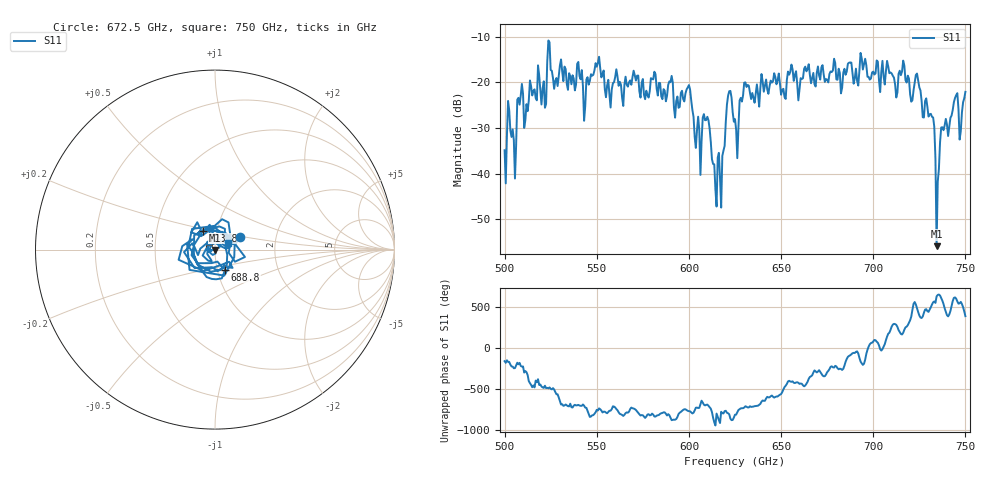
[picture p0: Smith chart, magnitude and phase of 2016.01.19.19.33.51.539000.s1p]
!Created with skrf (http://scikit-rf.org).
# GHz S RI R 50.0
!freq ReS11 ImS11
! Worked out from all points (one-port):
!   401 points, 500 GHz to 750 GHz, reference 50 ohm
!   lowest |S11| = -55.9 dB at 734.4 GHz (marker M1), VSWR 1.00, Z = 50 - j0.16 ohm
!   |S11| at or under -10 dB: start of sweep to end of sweep
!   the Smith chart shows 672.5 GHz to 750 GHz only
!   S11 on the Smith chart (normalised r, x): 672.5 GHz: 1.30, +0.19; 688.8 GHz: 1.09, -0.25; 723.8 GHz: 0.86, +0.18; 750 GHz: 1.15, +0.08
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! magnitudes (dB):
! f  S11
! 500 GHz  -34.9
! 503.1 GHz  -30.6
! 505 GHz  -32.6
! 508.1 GHz  -24.9
! 511.9 GHz  -24.8
! 521.2 GHz  -19.8
! 524.4 GHz  -11.2
! 531.2 GHz  -17.6
! 562.5 GHz  -19.9
! 590 GHz  -20.0
! 593.8 GHz  -23.1
! 600 GHz  -20.6
! 605 GHz  -27.5
! 609.4 GHz  -28.2
! 616.2 GHz  -35.4
! 621.9 GHz  -21.9
! 625 GHz  -28.0
! 631.2 GHz  -21.0
! 656.2 GHz  -17.1
! 672.5 GHz  -16.2
! 687.5 GHz  -15.6
! 688.8 GHz  -18.0
! 718.8 GHz  -18.5
! 723.8 GHz  -18.1
! 731.9 GHz  -27.5
! 734.4 GHz  -55.9
! 738.1 GHz  -30.5
! 750 GHz  -22.1
